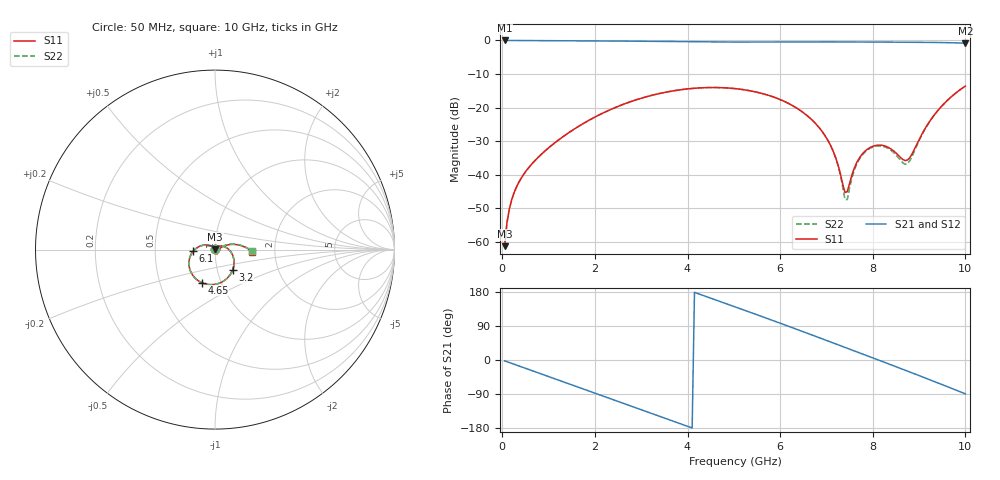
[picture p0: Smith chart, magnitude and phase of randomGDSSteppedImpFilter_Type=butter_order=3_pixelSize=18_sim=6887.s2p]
! freq	dB(S11)	phase(S11)	dB(S12)	phase(S12)
!  dB(S21)	phase(S21)	dB(S22)	phase(S22)
!S-par simulation data
#  GHz  S  DB  R 50
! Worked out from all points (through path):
!   200 points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, 50 MHz to 10 GHz, reference 50 ohm
!   highest |S21| = 0.00 dB at 50 MHz (marker M1); lowest = -0.8 dB at 10 GHz (marker M2)
!   group delay of S21, straight-line fit = 124 ps
!   lowest |S11| = -61.3 dB at 50 MHz (marker M3), VSWR 1.00, Z = 50 + j0.0836 ohm
!   |S11| at or under -10 dB: start of sweep to end of sweep
!   |S22| runs from -61.3 to -13.6 dB; largest |S21 - S12| = 0
!   S11 on the Smith chart (normalised r, x): 50 MHz: 1.00, +0.00; 3.2 GHz: 1.18, -0.28; 4.65 GHz: 0.81, -0.31; 6.1 GHz: 0.78, -0.02; 10 GHz: 1.53, -0.04
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0.05  -61.31 76.2  -0.00 -2.2  -0.00 -2.2  -61.32 76.0
0.1  -54.45 75.2  -0.00 -4.4  -0.00 -4.4  -54.45 75.1
0.2  -47.63 75.1  -0.01 -8.8  -0.01 -8.8  -47.63 75.1
0.45  -40.15 69.5  -0.03 -19.7  -0.03 -19.7  -40.15 69.4
1.75  -24.75 14.9  -0.10 -76.5  -0.10 -76.5  -24.75 14.8
2.45  -19.93 -16.0  -0.17 -107.2  -0.17 -107.2  -19.93 -16.2
3.2  -16.46 -49.1  -0.27 -140.1  -0.27 -140.1  -16.46 -49.2
3.4  -15.80 -57.8  -0.30 -148.8  -0.30 -148.8  -15.80 -57.9
4  -14.44 -83.8  -0.39 -175.0  -0.39 -175.0  -14.44 -83.9
4.65  -14.04 -111.8  -0.46 156.7  -0.46 156.7  -14.04 -111.9
5.05  -14.39 -129.1  -0.48 139.2  -0.48 139.2  -14.39 -129.1
6.1  -18.23 -175.4  -0.44 92.7  -0.44 92.7  -18.23 -175.2
6.7  -23.86 156.3  -0.42 65.5  -0.42 65.5  -23.85 157.1
7.15  -33.18 127.8  -0.43 44.8  -0.43 44.8  -33.20 130.9
7.4  -45.35 56.2  -0.44 33.3  -0.44 33.3  -47.44 63.7
7.45  -45.07 17.2  -0.44 31.0  -0.44 31.0  -47.41 13.6
7.6  -38.08 -32.7  -0.45 24.1  -0.45 24.1  -38.64 -38.5
7.8  -33.44 -51.0  -0.46 14.9  -0.46 14.9  -33.70 -54.9
8.35  -31.98 -67.8  -0.50 -10.6  -0.50 -10.6  -32.32 -71.4
8.75  -35.65 -21.4  -0.52 -29.3  -0.52 -29.3  -36.73 -20.2
9.3  -22.72 20.7  -0.59 -55.4  -0.59 -55.4  -22.77 22.3
10  -13.59 -3.3  -0.81 -89.4  -0.81 -89.4  -13.60 -2.7
